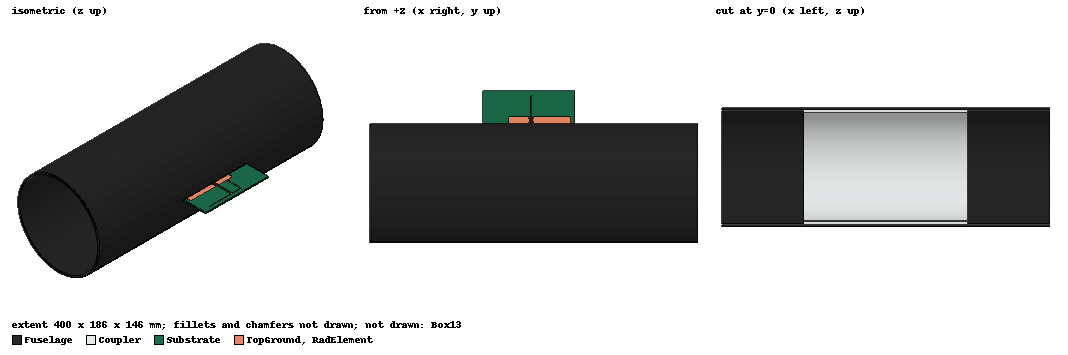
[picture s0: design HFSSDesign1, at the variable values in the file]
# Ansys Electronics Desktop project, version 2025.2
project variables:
  $Radius = 73mm
  $StubLen = 25mm
  $RadLen = 59mm  # optimise 54mm..60mm
  $FeedGap = 16mm  # optimise 7mm..15mm
  $PlaneWidth = 8mm
  $SizeMult = 0.94864648
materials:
  vacuum: permittivity=1
  copper: permeability=0.999991 conductivity=58000000
  air: permittivity=1.0006 permeability=1.0000004
  graphite: conductivity=70000
  FR4_epoxy: permittivity=4.4 dielectric_loss_tangent=0.02
  cast_iron: permeability=60 conductivity=1500000
  CF - Carbon fiber: conductivity=252.337
  aluminum: permeability=1.000021 conductivity=38000000

design HFSSDesign1 (HFSS, HFSS Terminal Network, model units mm)
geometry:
  Substrate [FR4_epoxy] = box(corner=(50mm, $Radius, 0.8mm), size=((-4.5*25) mm, 40mm, -1.6mm))
  Fuselage [CF - Carbon fiber] = cylinder(axis=X, base_centre=(-200mm, 0mm, 0mm), radius=73mm, height=400mm, segments=32)
  Cylinder3 = cylinder(axis=X, base_centre=(200mm, 0mm, 0mm), radius=70mm, height=-400mm)
  Fuselage.subtract(Cylinder3)
  Box13 [air] = box(corner=(-250mm, 200mm, 100mm), size=(500mm, -400mm, -200mm))
  Coupler [aluminum] = cylinder(axis=X, base_centre=(-100mm, 0mm, 0mm), radius=70mm, height=200mm, segments=32)
  Cylinder5 = cylinder(axis=X, base_centre=(100mm, 0mm, 0mm), radius=66.5mm, height=-200mm)
  Coupler.subtract(Cylinder5)
  Substrate.chamfer(Edges=Substrate.edge(at (-62.5, 113, 0)) LeftDistance=40mm RightDistance="(2.25*25) mm" ChamferType="Left Distance-Right Distance" ChamferAdditionalGeometryInfo{ChamferEdgeGeometryInfo{ChamferEdgeID=1342 ChamferEdgeSense ChamferEdgeStart{X=-62.5mm Y=113mm Z=0.8mm} ChamferEdgeEnd{X=-62.5mm Y=113mm Z=-0.8mm} ChamferEdgeMid{X=-62.5mm Y=113mm Z=0mm} ChamferEdgeMidTangent(0, 0, -1)}})  # suppressed
  Substrate.chamfer(Edges=Substrate.edge(at (50, 113, 0)) LeftDistance=6.25mm RightDistance=40mm ChamferType="Left Distance-Right Distance" ChamferAdditionalGeometryInfo{ChamferEdgeGeometryInfo{ChamferEdgeID=1343 ChamferEdgeSense ChamferEdgeStart{X=50mm Y=113mm Z=0.8mm} ChamferEdgeEnd{X=50mm Y=113mm Z=-0.8mm} ChamferEdgeMid{X=50mm Y=113mm Z=0mm} ChamferEdgeMidTangent(0, 0, -1)}})
  TopGround [copper] = box(corner=(-30mm, $Radius, 0.8mm), size=((3*25) mm, $PlaneWidth, 0.035mm))
  TopGround.chamfer(Edges=TopGround.edge(at (-30, 81, 0.8175)) LeftDistance=55deg RightDistance=$PlaneWidth ChamferType="Right Distance-Angle" ChamferAdditionalGeometryInfo{ChamferEdgeGeometryInfo{ChamferEdgeID=2238 ChamferEdgeSense ChamferEdgeStart{X=-30mm Y=81mm Z=0.8mm} ChamferEdgeEnd{X=-30mm Y=81mm Z=0.835mm} ChamferEdgeMid{X=-30mm Y=81mm Z=0.8175mm} ChamferEdgeMidTangent(0, 0, 1)}})  # suppressed
  TopGround.chamfer(Edges=TopGround.edge(at (45, 81, 0.8175)) LeftDistance=$PlaneWidth RightDistance=10deg ChamferType="Left Distance-Angle" ChamferAdditionalGeometryInfo{ChamferEdgeGeometryInfo{ChamferEdgeID=2239 ChamferEdgeSense ChamferEdgeStart{X=720mm Y=81mm Z=0.8mm} ChamferEdgeEnd{X=720mm Y=81mm Z=0.835mm} ChamferEdgeMid{X=720mm Y=81mm Z=0.8175mm} ChamferEdgeMidTangent(0, 0, 1)}})  # suppressed
  coordinate_system RelativeCS1 = origin=(-20mm, $Radius+$PlaneWidth, 0.8mm) x=(1mm, 0mm, 0mm) y=(0mm, 1mm, 0mm)
  Box15 = box(corner=(0mm, $StubLen, 0mm), size=(1mm, -($StubLen), 0.035mm)) in RelativeCS1
  Box16 = box(corner=($FeedGap, $StubLen, 0mm), size=(2mm, -($StubLen+$PlaneWidth), 0.035mm)) in RelativeCS1
  RadElement [copper] = box(corner=(0mm, $StubLen, 0mm), size=($RadLen, 1mm, 0.035mm)) in RelativeCS1
  RadElement.unite(Box16, Box15)
  StripCutTool = box(corner=($FeedGap-1mm, 0mm, 0mm), size=(4mm, -10mm, 0.035mm)) in RelativeCS1
  BottomGround = box(corner=(-30mm, $Radius, -0.835mm), size=((3*25) mm, $PlaneWidth, 0.035mm))
  BottomGround.chamfer(Edges=TopGround.edge(at (-30, 81, -0.8175)) LeftDistance=55deg RightDistance=$PlaneWidth ChamferType="Right Distance-Angle" ChamferAdditionalGeometryInfo{ChamferEdgeGeometryInfo{ChamferEdgeID=2539 ChamferEdgeSense ChamferEdgeStart{X=-62.5mm Y=82.061165mm Z=-0.835mm} ChamferEdgeEnd{X=-62.5mm Y=82.061165mm Z=-0.8mm} ChamferEdgeMid{X=-62.5mm Y=82.061165mm Z=-0.8175mm} ChamferEdgeMidTangent(0, 0, 1)}})  # suppressed
  BottomGround.chamfer(Edges=TopGround.edge(at (45, 81, -0.8175)) LeftDistance=$PlaneWidth RightDistance=10deg ChamferType="Left Distance-Angle" ChamferAdditionalGeometryInfo{ChamferEdgeGeometryInfo{ChamferEdgeID=2540 ChamferEdgeSense ChamferEdgeStart{X=50mm Y=82.061165mm Z=-0.835mm} ChamferEdgeEnd{X=50mm Y=82.061165mm Z=-0.8mm} ChamferEdgeMid{X=50mm Y=82.061165mm Z=-0.8175mm} ChamferEdgeMidTangent(0, 0, 1)}})  # suppressed
  TopGround.subtract(StripCutTool)
  Vias = cylinder(axis=Z, base_centre=($FeedGap-1.5mm, -0.5mm, -1.635mm), radius=0.3mm, height=1.67mm) in RelativeCS1
  Cylinder7 = cylinder(axis=Z, base_centre=($FeedGap-1.5mm, -0.5mm, -1.635mm), radius=(0.3-0.035) mm, height=1.67mm) in RelativeCS1
  Vias.subtract(Cylinder7)
  ViaTool [vacuum, non-model] = cylinder(axis=Z, base_centre=($FeedGap-1.5mm, -0.5mm, -1.635mm), radius=0.3mm, height=1.67mm) in RelativeCS1
  ViaTool.duplicate_along_line(step=(0mm, -1.5mm, 0mm), total=5, attached) in RelativeCS1
  Vias.duplicate_along_line(step=(0mm, -1.5mm, 0mm), total=5, attached) in RelativeCS1
  Vias.duplicate_along_line(step=(5mm, 0mm, 0mm), total=2, attached) in RelativeCS1
  ViaTool.duplicate_along_line(step=(5mm, 0mm, 0mm), total=2, attached) in RelativeCS1
  ViaTool_1 = ViaTool.copy()
  BottomGround.subtract(ViaTool_1)
  ViaTool_2 = ViaTool.copy()
  Substrate.subtract(ViaTool_2)
  ViaTool_3 = ViaTool.copy()
  TopGround.subtract(ViaTool_3)
  TopGround.unite(BottomGround, Vias)
  Rectangle1 = rectangle(corner=($FeedGap-3mm, -$PlaneWidth, 0mm), z_size=0.035mm, x_size=5mm) in RelativeCS1
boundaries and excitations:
  Rad1: Radiation Objects=Box13
  RadElement_T1: Terminal port=1 Faces=RadElement.face(at (-3, 73, 0.8175)) TerminalResistance=50ohm
  1: Lumped Port Faces=Rectangle1.face LumpedPortType=Terminal Impedance=50ohm
  reference conductors: TopGround
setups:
  Setup1: HfssDriven MultipleAdaptiveFreqsSetup{AdaptAt{Frequency=915MHz Delta=0.02} AdaptAt{Frequency=900GHz Delta=0.02} AdaptAt{Frequency=930GHz Delta=0.02}} MaximumPasses=10 MinimumPasses=1 MinimumConvergedPasses=1 PercentRefinement=30 disabled BasisOrder=1 PortAccuracy=2 DrivenSolverType="Direct Solver"
    sweep Sweep: 900MHz to 930MHz, 40 points; disabled Type=Discrete
    sweep Sweep1: 750MHz to 1070MHz, 40 points; Type=Interpolating InterpTolerance=0.5 InterpMaxSolns=250 PassivityErrorTolerance=0.0001
  Setup2: HfssDriven Frequency=915MHz MaxDeltaS=0.02 MaximumPasses=10 MinimumPasses=1 MinimumConvergedPasses=1 PercentRefinement=30 BasisOrder=1 PortAccuracy=2 DrivenSolverType="Direct Solver"
    sweep Sweep: 750MHz to 1070MHz, 40 points; Type=Interpolating InterpTolerance=0.5 InterpMaxSolns=250 PassivityErrorTolerance=0.0001
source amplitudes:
  1:1: 1V 0deg
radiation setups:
  Infinite Sphere1: Infinite Sphere Theta=0deg..180deg step 2deg Phi=-180deg..180deg step 2deg
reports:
  Gain Plot1: dB(GainTotal) vs Phi, Theta on Setup2 : LastAdaptive, Infinite Sphere1 [Freq=0.915GHz]
  Terminal S Parameter Plot1: dB(St(RadElement_T1,RadElement_T1)) vs Freq on Setup2 : Sweep
  Terminal VSWR Plot1: VSWRt(RadElement_T1) vs Freq on Setup2 : Sweep
  Antenna Params Plot1: RadiationEfficiency vs Freq on Setup2 : LastAdaptive
